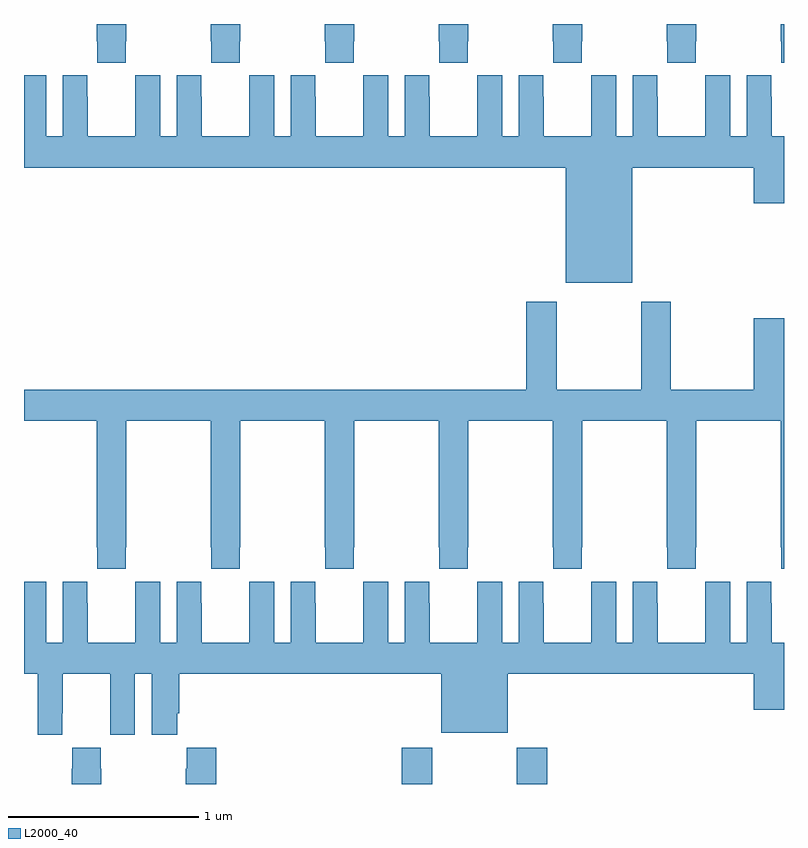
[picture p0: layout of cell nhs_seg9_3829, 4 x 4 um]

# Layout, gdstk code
import gdstk
lib = gdstk.Library(unit=1e-6, precision=1e-09)
def R(c, l, rs):  # rectangles x0, y0, x1, y1
    for r in rs: c.add(gdstk.rectangle(r[:2], r[2:], *l))
def P(c, l, *ps):  # polygons
    for p in ps: c.add(gdstk.Polygon(p, *l))
L2000_40 = (2000, 40)

nhs_seg9_3829 = lib.new_cell('nhs_seg9_3829')
R(nhs_seg9_3829, L2000_40, [(330.989,1202.5,331.149,1202.692), (331.594,1202.5,331.754,1202.692)])
P(nhs_seg9_3829, L2000_40, [(330.135,1206.409),(330.138,1206.409),(330.138,1206.5),(329.983,1206.5),(329.983,1206.409),(329.985,1206.409),(329.985,1206.297),(330.135,1206.297)],
  [(330.735,1206.409),(330.738,1206.409),(330.738,1206.5),(330.583,1206.5),(330.583,1206.409),(330.585,1206.409),(330.585,1206.297),(330.735,1206.297)],
  [(331.335,1206.409),(331.338,1206.409),(331.338,1206.5),(331.183,1206.5),(331.183,1206.409),(331.185,1206.409),(331.185,1206.297),(331.335,1206.297)],
  [(331.935,1206.409),(331.938,1206.409),(331.938,1206.5),(331.783,1206.5),(331.783,1206.409),(331.785,1206.409),(331.785,1206.297),(331.935,1206.297)],
  [(332.535,1206.409),(332.538,1206.409),(332.538,1206.5),(332.383,1206.5),(332.383,1206.409),(332.385,1206.409),(332.385,1206.297),(332.535,1206.297)],
  [(333,1206.5),(332.983,1206.5),(332.983,1206.409),(332.985,1206.409),(332.985,1206.297),(333,1206.297)],
  [(329.535,1206.409),(329.538,1206.409),(329.538,1206.5),(329.383,1206.5),(329.383,1206.409),(329.385,1206.409),(329.385,1206.297),(329.535,1206.297)],
  [(332.84,1205.556),(333,1205.556),(333,1205.908),(332.935,1205.908),(332.935,1206.116),(332.934,1206.116),(332.934,1206.229),(332.804,1206.229),(332.804,1205.908),(332.716,1205.908),(332.716,1206.229),(332.586,1206.229),(332.586,1206.116),(332.585,1206.116),(332.585,1205.908),(332.335,1205.908),(332.335,1206.116),(332.334,1206.116),(332.334,1206.229),(332.204,1206.229),(332.204,1205.908),(332.116,1205.908),(332.116,1206.229),(331.986,1206.229),(331.986,1206.116),(331.985,1206.116),(331.985,1205.908),(331.735,1205.908),(331.735,1206.116),(331.734,1206.116),(331.734,1206.229),(331.604,1206.229),(331.604,1205.908),(331.516,1205.908),(331.516,1206.229),(331.386,1206.229),(331.386,1206.116),(331.385,1206.116),(331.385,1205.908),(331.135,1205.908),(331.135,1206.116),(331.134,1206.116),(331.134,1206.229),(331.004,1206.229),(331.004,1205.908),(330.916,1205.908),(330.916,1206.229),(330.786,1206.229),(330.786,1206.116),(330.785,1206.116),(330.785,1205.908),(330.535,1205.908),(330.535,1206.116),(330.534,1206.116),(330.534,1206.229),(330.404,1206.229),(330.404,1205.908),(330.316,1205.908),(330.316,1206.229),(330.186,1206.229),(330.186,1206.116),(330.185,1206.116),(330.185,1205.908),(329.935,1205.908),(329.935,1206.116),(329.934,1206.116),(329.934,1206.229),(329.804,1206.229),(329.804,1205.908),(329.716,1205.908),(329.716,1206.229),(329.586,1206.229),(329.586,1206.116),(329.585,1206.116),(329.585,1205.908),(329.335,1205.908),(329.335,1206.116),(329.334,1206.116),(329.334,1206.229),(329.204,1206.229),(329.204,1205.908),(329.116,1205.908),(329.116,1206.229),(329,1206.229),(329,1205.744),(331.85,1205.744),(331.85,1205.138),(332.2,1205.138),(332.2,1205.744),(332.84,1205.744)],
  [(329.535,1203.745),(329.538,1203.745),(329.538,1204.412),(329.983,1204.412),(329.983,1203.745),(329.985,1203.745),(329.985,1203.633),(330.135,1203.633),(330.135,1203.745),(330.138,1203.745),(330.138,1204.412),(330.583,1204.412),(330.583,1203.745),(330.585,1203.745),(330.585,1203.633),(330.735,1203.633),(330.735,1203.745),(330.738,1203.745),(330.738,1204.412),(331.183,1204.412),(331.183,1203.745),(331.185,1203.745),(331.185,1203.633),(331.335,1203.633),(331.335,1203.745),(331.338,1203.745),(331.338,1204.412),(331.783,1204.412),(331.783,1203.745),(331.785,1203.745),(331.785,1203.633),(331.935,1203.633),(331.935,1203.745),(331.938,1203.745),(331.938,1204.412),(332.383,1204.412),(332.383,1203.745),(332.385,1203.745),(332.385,1203.633),(332.535,1203.633),(332.535,1203.745),(332.538,1203.745),(332.538,1204.412),(332.983,1204.412),(332.983,1203.745),(332.985,1203.745),(332.985,1203.633),(333,1203.633),(333,1204.951),(332.84,1204.951),(332.84,1204.576),(332.403,1204.576),(332.403,1205.038),(332.248,1205.038),(332.248,1204.576),(331.803,1204.576),(331.803,1205.038),(331.643,1205.038),(331.643,1204.576),(329,1204.576),(329,1204.412),(329.383,1204.412),(329.383,1203.745),(329.385,1203.745),(329.385,1203.633),(329.535,1203.633)],
  [(329.202,1202.872),(329.203,1202.872),(329.203,1203.08),(329.453,1203.08),(329.453,1202.872),(329.454,1202.872),(329.454,1202.76),(329.584,1202.76),(329.584,1203.08),(329.672,1203.08),(329.672,1202.76),(329.806,1202.76),(329.806,1202.872),(329.816,1202.872),(329.816,1203.08),(331.196,1203.08),(331.196,1202.771),(331.546,1202.771),(331.546,1203.08),(332.84,1203.08),(332.84,1202.892),(333,1202.892),(333,1203.244),(332.935,1203.244),(332.935,1203.452),(332.934,1203.452),(332.934,1203.565),(332.804,1203.565),(332.804,1203.244),(332.716,1203.244),(332.716,1203.565),(332.586,1203.565),(332.586,1203.452),(332.585,1203.452),(332.585,1203.244),(332.335,1203.244),(332.335,1203.452),(332.334,1203.452),(332.334,1203.565),(332.204,1203.565),(332.204,1203.244),(332.116,1203.244),(332.116,1203.565),(331.986,1203.565),(331.986,1203.452),(331.985,1203.452),(331.985,1203.244),(331.735,1203.244),(331.735,1203.452),(331.734,1203.452),(331.734,1203.565),(331.604,1203.565),(331.604,1203.244),(331.516,1203.244),(331.516,1203.565),(331.386,1203.565),(331.386,1203.452),(331.385,1203.452),(331.385,1203.244),(331.135,1203.244),(331.135,1203.452),(331.134,1203.452),(331.134,1203.565),(331.004,1203.565),(331.004,1203.244),(330.916,1203.244),(330.916,1203.565),(330.786,1203.565),(330.786,1203.452),(330.785,1203.452),(330.785,1203.244),(330.535,1203.244),(330.535,1203.452),(330.534,1203.452),(330.534,1203.565),(330.404,1203.565),(330.404,1203.244),(330.316,1203.244),(330.316,1203.565),(330.186,1203.565),(330.186,1203.452),(330.185,1203.452),(330.185,1203.244),(329.935,1203.244),(329.935,1203.452),(329.934,1203.452),(329.934,1203.565),(329.804,1203.565),(329.804,1203.244),(329.716,1203.244),(329.716,1203.565),(329.586,1203.565),(329.586,1203.452),(329.585,1203.452),(329.585,1203.244),(329.335,1203.244),(329.335,1203.452),(329.334,1203.452),(329.334,1203.565),(329.204,1203.565),(329.204,1203.244),(329.116,1203.244),(329.116,1203.565),(329,1203.565),(329,1203.08),(329.072,1203.08),(329.072,1202.76),(329.202,1202.76)],
  [(329.406,1202.579),(329.403,1202.579),(329.403,1202.692),(329.253,1202.692),(329.253,1202.579),(329.251,1202.579),(329.251,1202.5),(329.406,1202.5)],
  [(330.011,1202.692),(329.857,1202.692),(329.857,1202.579),(329.851,1202.579),(329.851,1202.5),(330.011,1202.5)])

lib.write_gds('nhs_seg9_3829.gds')
